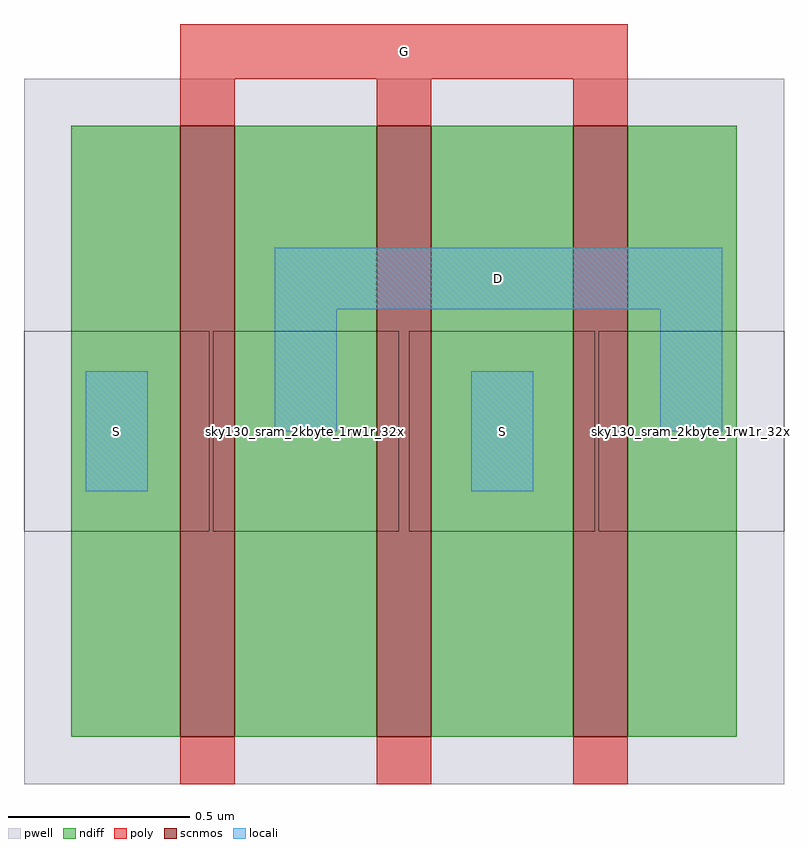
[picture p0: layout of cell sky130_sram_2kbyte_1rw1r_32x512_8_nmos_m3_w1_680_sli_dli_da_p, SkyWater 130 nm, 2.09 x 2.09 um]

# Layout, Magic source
magic
tech sky130A
magscale 1 2
<< pwell >>
rect -26 -26 392 362
<< scnmos >>
rect 60 0 90 336
rect 168 0 198 336
rect 276 0 306 336
<< ndiff >>
rect 0 0 60 336
rect 90 0 168 336
rect 198 0 276 336
rect 306 0 366 336
<< poly >>
rect 60 362 306 392
rect 60 336 90 362
rect 168 336 198 362
rect 276 336 306 362
rect 60 -26 90 0
rect 168 -26 198 0
rect 276 -26 306 0
<< locali >>
rect 112 235 358 269
rect 8 135 42 201
rect 112 168 146 235
rect 220 135 254 201
rect 324 168 358 235
use sky130_sram_2kbyte_1rw1r_32x512_8_contact_11  sky130_sram_2kbyte_1rw1r_32x512_8_contact_11_0
transform 1 0 316 0 1 135
box -26 -22 76 88
use sky130_sram_2kbyte_1rw1r_32x512_8_contact_11  sky130_sram_2kbyte_1rw1r_32x512_8_contact_11_1
transform 1 0 212 0 1 135
box -26 -22 76 88
use sky130_sram_2kbyte_1rw1r_32x512_8_contact_11  sky130_sram_2kbyte_1rw1r_32x512_8_contact_11_2
transform 1 0 104 0 1 135
box -26 -22 76 88
use sky130_sram_2kbyte_1rw1r_32x512_8_contact_11  sky130_sram_2kbyte_1rw1r_32x512_8_contact_11_3
transform 1 0 0 0 1 135
box -26 -22 76 88
<< labels >>
rlabel locali s 237 168 237 168 4 S
rlabel locali s 25 168 25 168 4 S
rlabel locali s 235 252 235 252 4 D
rlabel poly s 183 377 183 377 4 G
<< properties >>
string FIXED_BBOX -25 -26 391 392
<< end >>
